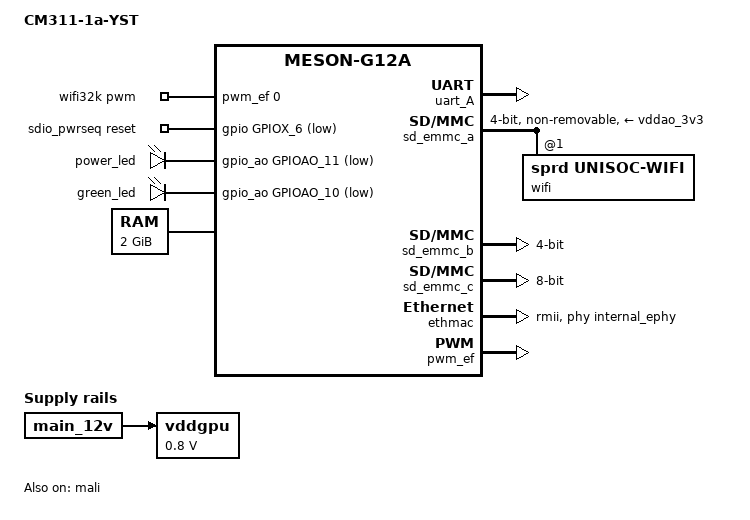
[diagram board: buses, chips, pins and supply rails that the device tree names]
// SPDX-License-Identifier: (GPL-2.0+ OR MIT)
/*
 * Copyright (c) 2018 Amlogic, Inc. All rights reserved.
 * Create by flippy
 */

/dts-v1/;

#include "meson-g12a-u200.dts"

/ {
	compatible = "cm311,m401a,e900v22c", "amlogic,g12a";
	model = "CM311-1a-YST";

	aliases {
		serial1 = &uart_A;
	};

	vddgpu: regulator-vddgpu {
		compatible = "regulator-fixed";
		regulator-name = "mali";
		regulator-min-microvolt = <800000>;
		regulator-max-microvolt = <800000>;
		vin-supply = <&main_12v>;
		regulator-boot-on;
		regulator-always-on;
	};

	wifi32k: wifi32k {
		compatible = "pwm-clock";
		#clock-cells = <0>;
		clock-frequency = <32768>;
		pwms = <&pwm_ef 0 30518 0>; /* PWM_E at 32.768KHz */
	};

	sdio_pwrseq: sdio-pwrseq {
		compatible = "mmc-pwrseq-simple";
		reset-gpios = <&gpio GPIOX_6 GPIO_ACTIVE_LOW>;
		clocks = <&wifi32k>;
		clock-names = "ext_clock";
	};

	leds {
		compatible = "gpio-leds";

		power_led {
			led_name = "power_led";
			gpios = <&gpio_ao GPIOAO_11 GPIO_ACTIVE_LOW>;
			default-state = "on";
		};

		green_led {
			led_name = "green_led";
			gpios = <&gpio_ao GPIOAO_10 GPIO_ACTIVE_LOW>;
			default-state = "off";
			linux,default-trigger = "heartbeat";
		};
	/*
	 *	remote_led {
	 *		led_name = "remote_led";
	 *		gpios = <&gpio_ao GPIOAO_10 GPIO_ACTIVE_LOW>;
	 *		default-state = "off";
	 *		linux,default-trigger = "rc-feedback";
	 *	};
	 */
	};

	memory@0 {
		device_type = "memory";
		reg = <0x0 0x0 0x0 0x80000000>;
	};
};

&uart_A {
	status = "okay";
	pinctrl-0 = <&uart_a_pins>, <&uart_a_cts_rts_pins>;
	uart-has-rtscts;
	pinctrl-names = "default";
};

&mali {
	status = "okay";
	mali-supply = <&vddgpu>;
};

/* SDIO */
&sd_emmc_a {
	status = "okay";
	pinctrl-0 = <&sdio_pins>;
	pinctrl-1 = <&sdio_clk_gate_pins>;
	pinctrl-names = "default", "clk-gate";
	#address-cells = <1>;
	#size-cells = <0>;

	bus-width = <4>;
	cap-sd-highspeed;
	sd-uhs-sdr50;
	max-frequency = <100000000>;

	non-removable;
	disable-wp;

	/* WiFi firmware requires power to be kept while in suspend */
	keep-power-in-suspend;

	mmc-pwrseq = <&sdio_pwrseq>;

	vmmc-supply = <&vddao_3v3>;
	vqmmc-supply = <&vddao_1v8>;

	wifi: wifi@1 {
		reg = <1>;
		compatible = "sprd,unisoc-wifi";
	};
};

/* SD card */
&sd_emmc_b {
	status = "okay";
	bus-width = <4>;
	cap-sd-highspeed;
	max-frequency = <50000000>;
};

/* eMMC */
&sd_emmc_c {
	status = "okay";
	bus-width = <8>;
	cap-mmc-highspeed;
	mmc-ddr-1_8v;
	mmc-hs200-1_8v;
	max-frequency = <200000000>;
};

/* CPU Overclock */
&cpu_opp_table {
	opp-100000000 {
		status = "disabled";
	};

	opp-250000000 {
		status = "disabled";
	};

	opp-500000000 {
		status = "disabled";
	};

	opp-667000000 {
		status = "disabled";
	};

	opp-1908000000 {
		opp-hz = /bits/ 64 <1908000000>;
		opp-microvolt = <1001000>;
	};

	/* 2016mhz :  not test */
	//opp-2016000000 {
	//		opp-hz = /bits/ 64 <2016000000>;
	//		opp-microvolt = <1021000>;
	//};
};

&internal_ephy  {
	max-speed = <100>;
};

&ethmac {
	/delete-property/ resets;
	/delete-property/ reset-names;
	phy-handle = <&internal_ephy>;
	phy-mode = "rmii";
	status = "okay";
};

&pwm_ef {
	pinctrl-0 = <&pwm_e_pins>;
	pinctrl-names = "default";
	clocks = <&xtal>;
	clock-names = "clkin0";
	status = "okay";
};
